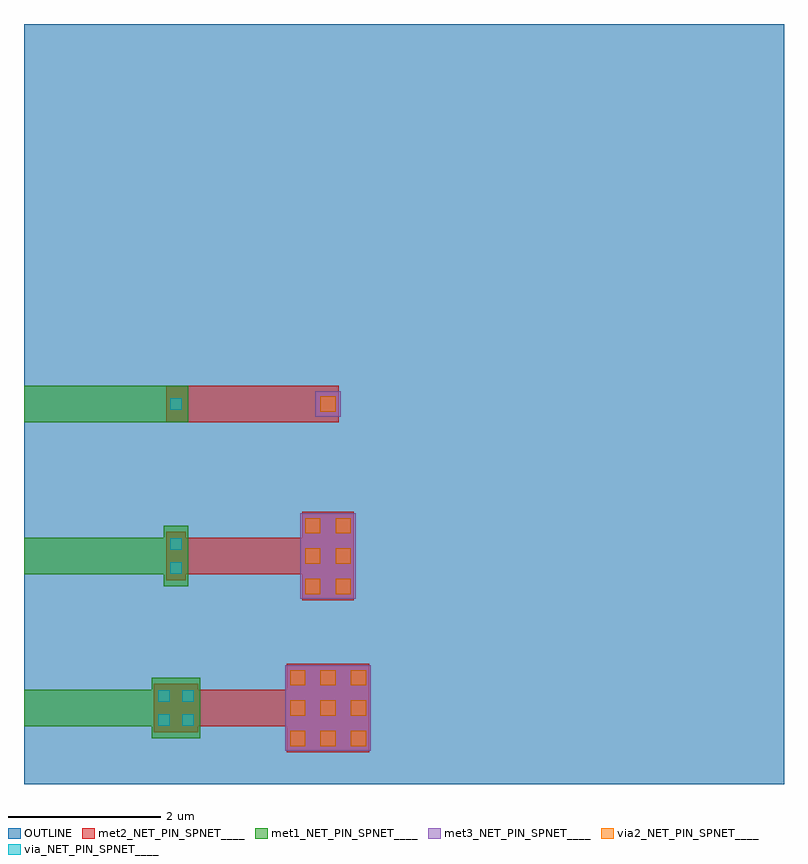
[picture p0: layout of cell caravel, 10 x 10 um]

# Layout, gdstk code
import gdstk
lib = gdstk.Library(unit=1e-6, precision=1e-09)
def R(c, l, rs):  # rectangles x0, y0, x1, y1
    for r in rs: c.add(gdstk.rectangle(r[:2], r[2:], *l))
def A(c, l, x, y, w, h, nx, ny, dx, dy):  # array of equal rectangles
    R(c, l, [(x+i*dx, y+j*dy, x+i*dx+w, y+j*dy+h) for i in range(nx) for j in range(ny)])
met1_NET_PIN_SPNET____ = (1, 0)
via_NET_PIN_SPNET____ = (2, 0)
met2_NET_PIN_SPNET____ = (3, 0)
via2_NET_PIN_SPNET____ = (4, 0)
met3_NET_PIN_SPNET____ = (5, 0)
OUTLINE = (100, 0)

via_via2_2 = lib.new_cell('VIA_via2$2')
R(via_via2_2, met2_NET_PIN_SPNET____, [(-0.14,-0.24,0.14,0.24)])
R(via_via2_2, via2_NET_PIN_SPNET____, [(-0.1,-0.1,0.1,0.1)])
R(via_via2_2, met3_NET_PIN_SPNET____, [(-0.165,-0.165,0.165,0.165)])

via_via1_2 = lib.new_cell('VIA_via1$2')
R(via_via1_2, met1_NET_PIN_SPNET____, [(-0.16,-0.24,0.16,0.24)])
R(via_via1_2, via_NET_PIN_SPNET____, [(-0.075,-0.075,0.075,0.075)])
R(via_via1_2, met2_NET_PIN_SPNET____, [(-0.13,-0.24,0.13,0.24)])

comp_c = lib.new_cell('comp_c')
R(comp_c, OUTLINE, [(0,0,10,2)])
comp_c.add(gdstk.FlexPath([(0,1),(2,1)], 0.48, ends="flush", simple_path=True, layer=1, datatype=0))  # met1_NET_PIN_SPNET____
comp_c.add(gdstk.FlexPath([(2,1),(4,1)], 0.48, ends="flush", simple_path=True, layer=3, datatype=0))  # met2_NET_PIN_SPNET____
comp_c.add(gdstk.Reference(via_via2_2, (4,1)))
comp_c.add(gdstk.Reference(via_via1_2, (2,1)))

via_via2_1 = lib.new_cell('VIA_via2$1')
R(via_via2_1, met2_NET_PIN_SPNET____, [(-0.34,-0.585,0.34,0.585)])
A(via_via2_1, via2_NET_PIN_SPNET____, -0.3, -0.5, 0.2, 0.2, 1, 3, 0, 0.4)
A(via_via2_1, via2_NET_PIN_SPNET____, 0.1, -0.5, 0.2, 0.2, 1, 3, 0, 0.4)
R(via_via2_1, met3_NET_PIN_SPNET____, [(-0.365,-0.565,0.365,0.565)])

via_via1_1 = lib.new_cell('VIA_via1$1')
R(via_via1_1, met1_NET_PIN_SPNET____, [(-0.16,-0.4,0.16,0.4)])
R(via_via1_1, via_NET_PIN_SPNET____, [(-0.075,-0.235,0.075,-0.085), (-0.075,0.085,0.075,0.235)])
R(via_via1_1, met2_NET_PIN_SPNET____, [(-0.13,-0.32,0.13,0.32)])

comp_b = lib.new_cell('comp_b')
R(comp_b, OUTLINE, [(0,0,10,2)])
comp_b.add(gdstk.FlexPath([(0,1),(2,1)], 0.48, ends="flush", simple_path=True, layer=1, datatype=0))  # met1_NET_PIN_SPNET____
comp_b.add(gdstk.FlexPath([(2,1),(4,1)], 0.48, ends="flush", simple_path=True, layer=3, datatype=0))  # met2_NET_PIN_SPNET____
comp_b.add(gdstk.Reference(via_via2_1, (4,1)))
comp_b.add(gdstk.Reference(via_via1_1, (2,1)))

via_via2 = lib.new_cell('VIA_via2')
R(via_via2, met2_NET_PIN_SPNET____, [(-0.54,-0.585,0.54,0.585)])
A(via_via2, via2_NET_PIN_SPNET____, -0.5, -0.5, 0.2, 0.2, 3, 3, 0.4, 0.4)
R(via_via2, met3_NET_PIN_SPNET____, [(-0.565,-0.565,0.565,0.565)])

via_via1 = lib.new_cell('VIA_via1')
R(via_via1, met1_NET_PIN_SPNET____, [(-0.32,-0.4,0.32,0.4)])
R(via_via1, via_NET_PIN_SPNET____, [(-0.235,-0.235,-0.085,-0.085), (0.085,-0.235,0.235,-0.085), (-0.235,0.085,-0.085,0.235), (0.085,0.085,0.235,0.235)])
R(via_via1, met2_NET_PIN_SPNET____, [(-0.29,-0.32,0.29,0.32)])

comp_a = lib.new_cell('comp_a')
R(comp_a, OUTLINE, [(0,0,10,2)])
comp_a.add(gdstk.FlexPath([(0,1),(2,1)], 0.48, ends="flush", simple_path=True, layer=1, datatype=0))  # met1_NET_PIN_SPNET____
comp_a.add(gdstk.FlexPath([(2,1),(4,1)], 0.48, ends="flush", simple_path=True, layer=3, datatype=0))  # met2_NET_PIN_SPNET____
comp_a.add(gdstk.Reference(via_via2, (4,1)))
comp_a.add(gdstk.Reference(via_via1, (2,1)))

caravel = lib.new_cell('caravel')
R(caravel, OUTLINE, [(0,0,10,10)])
caravel.add(gdstk.Reference(comp_c, (0,4)))
caravel.add(gdstk.Reference(comp_b, (0,2)))
caravel.add(gdstk.Reference(comp_a, (0,0)))

lib.write_gds('caravel.gds')
